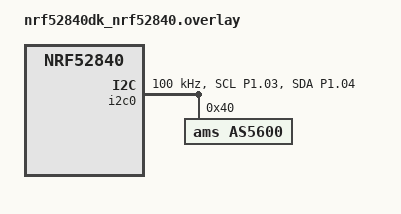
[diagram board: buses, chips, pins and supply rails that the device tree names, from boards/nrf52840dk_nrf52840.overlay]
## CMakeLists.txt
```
cmake_minimum_required(VERSION 3.20.0)
find_package(Zephyr REQUIRED HINTS $ENV{ZEPHYR_BASE})

project(scroller_mvp)

set(APPLICATION_CONFIG_DIR "${CMAKE_CURRENT_LIST_DIR}/configuration/\${NORMALIZED_BOARD_TARGET}")

zephyr_include_directories(
  configuration/common
  ${APPLICATION_CONFIG_DIR}
)

target_sources(app PRIVATE src/main.c)

# Include application events and configuration headers
zephyr_library_include_directories(
  src/events
  src/modules
)

# Application sources
add_subdirectory(src/events)
add_subdirectory(src/modules)
```

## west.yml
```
manifest:
  self:
    path: application
  remotes:
    - name: nrf
      url-base: https://github.com/nrfconnect
  projects:
    - name: sdk-nrf
      remote: nrf
      path: nrf
      revision: v3.0.0
      import:
        path-prefix: external
      clone-depth: 1
```

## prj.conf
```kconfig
# Project wide
CONFIG_LOG=y

# Common Application Framework
# https://docs.nordicsemi.com/bundle/ncs-latest/page/nrf/libraries/caf/caf_overview.html
CONFIG_CAF=y
CONFIG_APP_EVENT_MANAGER=y
CONFIG_APP_EVENT_MANAGER_SHOW_EVENTS=n
CONFIG_HEAP_MEM_POOL_SIZE=2048

# CAF: Power manager module
# https://docs.nordicsemi.com/bundle/ncs-latest/page/nrf/libraries/caf/power_manager.html
CONFIG_CAF_POWER_MANAGER=y
CONFIG_PM_DEVICE=y
CONFIG_REBOOT=y
# FIXME: Prevent the device from powering off. Can only enter the suspended state
CONFIG_CAF_POWER_MANAGER_STAY_ON=y
# Allow modules to quickly enter a power down state to disable the sensor
CONFIG_CAF_FORCE_POWER_DOWN_EVENTS=y

# CAF: Sensor manager module
# https://docs.nordicsemi.com/bundle/ncs-latest/page/nrf/libraries/caf/sensor_manager.html
CONFIG_I2C=y
CONFIG_I2C_NRFX=y
CONFIG_SENSOR=y
CONFIG_CAF_SENSOR_MANAGER=y
CONFIG_CAF_SENSOR_MANAGER_THREAD_PRIORITY=2
CONFIG_CAF_SENSOR_MANAGER_PM=y

# USB Module
CONFIG_USB_DEVICE_STACK=y
CONFIG_USB_DEVICE_HID=y
CONFIG_USB_DEVICE_PRODUCT="FoldingFingers Scroller"
CONFIG_USB_DEVICE_PID=0x0001
CONFIG_USB_DEVICE_VID=0xF0F1
CONFIG_USB_DEVICE_INITIALIZE_AT_BOOT=n # Not a primary HID device, dont enable in bios
CONFIG_USB_HID_POLL_INTERVAL_MS=2
```

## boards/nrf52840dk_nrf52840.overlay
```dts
/ {
	longpress {
		input = <&buttons>;
		compatible = "zephyr,input-longpress";
		input-codes = <INPUT_KEY_0>;
		short-codes = <INPUT_KEY_A>;
		long-codes = <INPUT_KEY_X>;
		long-delay-ms = <1000>;
	};
};

&i2c0 {
	status = "okay";
	pinctrl-0 = <&i2c0_default>;
	pinctrl-1 = <&i2c0_sleep>;
	pinctrl-names = "default", "sleep";
	as5600: as5600@40 {
		compatible = "ams,as5600";
		status = "okay";
		reg = <0x40>;


		power-mode = <0>;
		hysteresis = <1>;
		slow-filter = <1>;
		fast-filter-threshold = <1>;
	};

	clock-frequency = <I2C_BITRATE_STANDARD>;
};

&pinctrl {
	/omit-if-no-ref/ i2c0_default: i2c0_default {
		group1  {
			psels = <NRF_PSEL(TWIM_SCL, 1, 03)>,
					<NRF_PSEL(TWIM_SDA, 1, 04)>;

			bias-pull-up;
			nordic,drive-mode = <NRF_DRIVE_H0H1>;
		};
	};

	/omit-if-no-ref/ i2c0_sleep: i2c0_sleep {
		group1  {
			psels = <NRF_PSEL(TWIM_SCL, 1, 03)>,
					<NRF_PSEL(TWIM_SDA, 1, 04)>;
			low-power-enable;
		};
	};
};
```

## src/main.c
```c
#include <app_event_manager.h>
#define MODULE main
#include <caf/events/module_state_event.h>

#include <zephyr/kernel.h>
#include <zephyr/logging/log.h>
LOG_MODULE_REGISTER(main, LOG_LEVEL_DBG);

#include "scroller_config.h"

struct scroller_config_t SCROLLER_CONFIG;
struct k_mutex scroller_config_mutex;

/* Initialize global config */
void init_conf()
{
        /* Initialize config and config mutex */
        SCROLLER_CONFIG = (struct scroller_config_t){
            .scroll_accumulator = 0,
            .internal_divider = SCROLLER_STEPS_LOW_RES,
        };

        k_mutex_init(&scroller_config_mutex);
}

// FIXME: Control over usb serial device descriptor? To be able to change settings? Could be later used for test harnessing?
// FIXME: Timer based wake to check the sensor and see if it has changed value. If so, wake the device
int main(void)
{
        printk("Scroller v0.1 Test Application\n");

        init_conf();

        if (app_event_manager_init())
        {
                LOG_ERR("Application event manager failed to init");
                return -EINVAL;
        }
        else
        {
                module_set_state(MODULE_STATE_READY);
        }

        return 0;
}
```

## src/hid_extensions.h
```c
#ifndef HID_EXTENSIONS_H
#define HID_EXTENSIONS_H

/**
 * @brief Define HID Physical Minimum item with the data length of one byte.
 *
 * @param a Minimum value in logical units
 * @return  HID Physical Minimum item
 */
#define HID_PHYSICAL_MIN8(a) HID_ITEM(HID_ITEM_TAG_PHYSICAL_MIN, HID_ITEM_TYPE_GLOBAL, 1), a

/**
 * @brief Define HID Physical Maximum item with the data length of one byte.
 *
 * @param a Maximum value in logical units
 * @return  HID Physical Maximum item
 */
#define HID_PHYSICAL_MAX8(a) HID_ITEM(HID_ITEM_TAG_PHYSICAL_MAX, HID_ITEM_TYPE_GLOBAL, 1), a

/**
 * @brief Define HID Physical Minimum item with the data length of two bytes.
 *
 * @param a Minimum value lower byte
 * @param b Minimum value higher byte
 * @return  HID Physical Minimum item
 */
#define HID_PHYSICAL_MIN16(a, b) HID_ITEM(HID_ITEM_TAG_PHYSICAL_MIN, HID_ITEM_TYPE_GLOBAL, 2), a, b

/**
 * @brief Define HID Physical Maximum item with the data length of two bytes.
 *
 * @param a Minimum value lower byte
 * @param b Minimum value higher byte
 * @return  HID Physical Maximum item
 */
#define HID_PHYSICAL_MAX16(a, b) HID_ITEM(HID_ITEM_TAG_PHYSICAL_MAX, HID_ITEM_TYPE_GLOBAL, 2), a, b

#define HID_USAGE_16(a, b) HID_ITEM(HID_ITEM_TAG_USAGE, HID_ITEM_TYPE_LOCAL, 2), a, b

#endif /* HID_EXTENSIONS_H */
```

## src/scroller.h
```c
#ifndef SCROLLER_H
#define SCROLLER_H

#include <zephyr/usb/class/hid.h>
#include "hid_extensions.h"

#define SCROLLER_STEPS_LOW_RES 120
#define SCROLLER_STEPS_HI_RES 1

#define SCROLLER_RESOLUTION_MULTIPLIER 128
#define SCROLLER_RESOLUTION_MULTIPLIER_REPORT_BITS 7
#define SCROLLER_L_MIN_L8 0x00
#define SCROLLER_L_MIN_H8 0x80
#define SCROLLER_L_MAX_L8 0xFF
#define SCROLLER_L_MAX_H8 0x7F
#define SCROLLER_WHEEL_INPUT 0b00001110 /* Data, Var, Abs, Wrap */
/**
 * @brief Define HID Wheel Report Descriptor.
 *
 * @return  HID Wheel Report Descriptor
 */
#define HID_WHEEL_REPORT_DESC()                                                                            \
    {                                                                                                      \
        HID_USAGE_PAGE(HID_USAGE_GEN_DESKTOP),                                                             \
        HID_USAGE(HID_USAGE_GEN_DESKTOP_POINTER),                                                          \
        HID_COLLECTION(HID_COLLECTION_APPLICATION),                                                        \
        HID_USAGE_PAGE(HID_USAGE_GEN_DESKTOP),                                                             \
        HID_USAGE(HID_USAGE_GEN_DESKTOP_POINTER),                                                          \
        HID_COLLECTION(HID_COLLECTION_PHYSICAL),                                                           \
        HID_COLLECTION(HID_COLLECTION_LOGICAL),                                                            \
        HID_REPORT_ID(2), /* Feature Report for Res Mult*/                                                 \
        HID_USAGE(0x48),  /* Resolution Multiplier */                                                      \
        HID_REPORT_COUNT(1),                                                                               \
        HID_REPORT_SIZE(SCROLLER_RESOLUTION_MULTIPLIER_REPORT_BITS),                                       \
        HID_LOGICAL_MIN8(0),                               /* Disable Res Mult */                          \
        HID_LOGICAL_MAX8(1),                               /* Enable Res Mult*/                            \
        HID_PHYSICAL_MIN8(1),                              /* 1 step per detent */                         \
        HID_PHYSICAL_MAX8(SCROLLER_RESOLUTION_MULTIPLIER), /* steps per detent, auto selcted by windows */ \
        HID_FEATURE(0b00000010),                           /* Data, Var, Abs */                            \
        HID_REPORT_ID(1),                                  /* Input report for Wheel */                    \
        HID_USAGE(HID_USAGE_GEN_DESKTOP_WHEEL),                                                            \
        HID_PHYSICAL_MIN8(0),                                                                              \
        HID_PHYSICAL_MAX8(0),                                                                              \
        HID_LOGICAL_MIN16(SCROLLER_L_MIN_L8, SCROLLER_L_MIN_H8),                                           \
        HID_LOGICAL_MAX16(SCROLLER_L_MAX_L8, SCROLLER_L_MAX_H8),                                           \
        HID_REPORT_SIZE(16),                                                                               \
        HID_INPUT(SCROLLER_WHEEL_INPUT), /* Data, Var, Rel */                                              \
        HID_END_COLLECTION,                                                                                \
        HID_COLLECTION(HID_COLLECTION_LOGICAL), /* Horz Scroll */                                          \
        HID_REPORT_ID(2),                       /* Feature Report for Res Mult*/                           \
        HID_USAGE(0x48),                        /* Resolution Multiplier */                                \
        HID_REPORT_SIZE(SCROLLER_RESOLUTION_MULTIPLIER_REPORT_BITS),                                       \
        HID_LOGICAL_MIN8(0),                               /* Disable Res Mult */                          \
        HID_LOGICAL_MAX8(1),                               /* Enable Res Mult*/                            \
        HID_PHYSICAL_MIN8(1),                              /* 1 step per detent */                         \
        HID_PHYSICAL_MAX8(SCROLLER_RESOLUTION_MULTIPLIER), /* steps per detent, auto selcted by windows */ \
        HID_FEATURE(0b00000010),                           /* Data, Var, Abs */                            \
        HID_PHYSICAL_MIN8(0),                                                                              \
        HID_PHYSICAL_MAX8(0),                                                                              \
        HID_REPORT_ID(1),     /* Input report for H. Wheel */                                              \
        HID_USAGE_PAGE(0x0C), /* Consumer Device */                                                        \
        HID_LOGICAL_MIN16(SCROLLER_L_MIN_L8, SCROLLER_L_MIN_H8),                                           \
        HID_LOGICAL_MAX16(SCROLLER_L_MAX_L8, SCROLLER_L_MAX_H8),                                           \
        HID_REPORT_SIZE(16),                                                                               \
        HID_USAGE_16(0x38, 0x02),        /* AC Pan */                                                      \
        HID_INPUT(SCROLLER_WHEEL_INPUT), /* Data, Var, Rel */                                              \
        HID_END_COLLECTION,                                                                                \
        HID_END_COLLECTION,                                                                                \
        HID_END_COLLECTION,                                                                                \
    }

#endif // SCROLLER_H
```

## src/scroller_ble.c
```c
/*
 * Copyright (c) 2016 Intel Corporation
 *
 * SPDX-License-Identifier: Apache-2.0
 */

#include <zephyr/types.h>
#include <stddef.h>
#include <string.h>
#include <errno.h>
#include <zephyr/logging/log.h>
#include <zephyr/sys/byteorder.h>
#include <zephyr/device.h>
#include <zephyr/input/input.h>
#include <zephyr/kernel.h>

#include <zephyr/bluetooth/bluetooth.h>
#include <zephyr/bluetooth/hci.h>
#include <zephyr/bluetooth/conn.h>
#include <zephyr/bluetooth/uuid.h>
#include <zephyr/bluetooth/gatt.h>
#include <zephyr/settings/settings.h>

#include "scroller_hog.h"
#include "scroller_config.h"

LOG_MODULE_REGISTER(scroller_ble, LOG_LEVEL_DBG);

static const struct bt_data ad[] = {
    BT_DATA_BYTES(BT_DATA_FLAGS, (BT_LE_AD_GENERAL | BT_LE_AD_NO_BREDR)),
    BT_DATA_BYTES(BT_DATA_UUID16_ALL,
                  BT_UUID_16_ENCODE(BT_UUID_HIDS_VAL),
                  BT_UUID_16_ENCODE(BT_UUID_BAS_VAL)),
};

static const struct bt_data sd[] = {
    BT_DATA(BT_DATA_NAME_COMPLETE, CONFIG_BT_DEVICE_NAME, sizeof(CONFIG_BT_DEVICE_NAME) - 1),
};

/* Prevent restarting advertising if it is already started */
K_SEM_DEFINE(scroller_ble_advertising, 1, 1);

/* Current BLE state */
static int32_t state;

static void connected(struct bt_conn *conn, uint8_t err)
{
    char addr[BT_ADDR_LE_STR_LEN];

    bt_addr_le_to_str(bt_conn_get_dst(conn), addr, sizeof(addr));

    if (err)
    {
        LOG_ERR("Failed to connect to %s, err 0x%02x %s", addr,
                err, bt_hci_err_to_str(err));
        return;
    }

    LOG_INF("Connected %s", addr);

    if (bt_conn_set_security(conn, BT_SECURITY_L2))
    {
        LOG_WRN("Failed to set security");
    }

    /* Enter BLE_CONNECTED state and clear advertising sem */
    state = BLE_CONNECTED;
    if (k_msgq_put(&state_change, &state, K_MSEC(5)))
    {
        LOG_ERR("Failed to send BLE_CONNECTED");
    }
    k_sem_give(&scroller_ble_advertising);
}

static void disconnected(struct bt_conn *conn, uint8_t reason)
{
    char addr[BT_ADDR_LE_STR_LEN];

    bt_addr_le_to_str(bt_conn_get_dst(conn), addr, sizeof(addr));

    LOG_INF("Disconnected from %s, reason 0x%02x %s", addr,
            reason, bt_hci_err_to_str(reason));

    /* Enter BLE_DISCONNECTED state */
    state = BLE_DISCONNECTED;
    if (k_msgq_put(&state_change, &state, K_MSEC(5)))
    {
        LOG_ERR("Failed to send BLE_DISCONNECTED");
    }
}

static void security_changed(struct bt_conn *conn, bt_security_t level,
                             enum bt_security_err err)
{
    char addr[BT_ADDR_LE_STR_LEN];

    bt_addr_le_to_str(bt_conn_get_dst(conn), addr, sizeof(addr));

    if (!err)
    {
        LOG_INF("Security changed: %s level %u", addr, level);
    }
    else
    {
        LOG_WRN("Security failed: %s level %u err %s(%d)", addr, level,
                bt_security_err_to_str(err), err);
    }
}

BT_CONN_CB_DEFINE(conn_callbacks) = {
    .connected = connected,
    .disconnected = disconnected,
    .security_changed = security_changed,
};

/* Advertise with the given type:
 * BT_LE_ADV_CONN_FAST_1 --> Pairing
 * TODO: Low power pairing mode? Longer interval to decrease battery usage.
 * const struct bt_le_adv_param *advertising_type
 */
void advertise(const struct bt_le_adv_param *advertising_type)
{
    int err;

    if (k_sem_take(&scroller_ble_advertising, K_NO_WAIT))
    {
        /* Advertising is currently running, bail out */
        LOG_WRN("Advertising already running");
        return;
    }

    err = bt_le_adv_start(advertising_type, ad, ARRAY_SIZE(ad), sd, ARRAY_SIZE(sd));
    if (err)
    {
        LOG_ERR("Advertising failed to start: %d", err);
        k_sem_give(&scroller_ble_advertising);
        return;
    }

    /* Enter BLE_ADVERTISING state */
    state = BLE_ADVERTISING;
    if (k_msgq_put(&state_change, &state, K_MSEC(5)))
    {
        LOG_ERR("Failed to send BLE_ADVERTISING");
    }

    LOG_INF("Advertising successfully started");
    return;
}

void advertise_pairing(struct k_work *work)
{
    advertise(BT_LE_ADV_CONN_FAST_1);
}
K_WORK_DEFINE(advertise_work, advertise_pairing);

void scroller_ble_init(int err)
{
    if (err)
    {
        LOG_ERR("Bluetooth init failed: %d", err);
        return;
    }

    LOG_INF("Bluetooth initialized");

    if (IS_ENABLED(CONFIG_SETTINGS))
    {
        settings_load();
    }

    /* Enter BLE_CONNECTED state */
    state = BLE_DISCONNECTED;
    if (k_msgq_put(&state_change, &state, K_MSEC(5)))
    {
        LOG_ERR("Failed to send BLE_DISCONNECTED");
    }
}

// FIXME: Will need white/black listing of devices
// for a temporary period to allow others to connect? May need connnection pool info? --> Nordic course
static void input_callback(struct input_event *event, void *userdata)
{
    static bool pairing_button = true;

    /* Key codes are defined in the overlay file */
    switch (event->code)
    {
    case INPUT_KEY_A:
        LOG_INF("Short Press Key 1");
        break;
    case INPUT_KEY_X:
        if (pairing_button)
        {
            LOG_INF("Long press down key 1");
            // FIXME: trigger advertising
        }
        else
        {
            LOG_INF("Long press up key 1");
        }

        pairing_button = !pairing_button;
        break;
    }
}

INPUT_CALLBACK_DEFINE(NULL, input_callback, NULL);
```

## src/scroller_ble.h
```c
#ifndef SCROLLER_BLE_H
#define SCROLLER_BLE_H

void scroller_ble_init(int err);

extern struct k_work advertise_work;

#endif /* SCROLLER_BLE_H */
```

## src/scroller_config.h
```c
#ifndef SCROLLER_CONFIG_H
#define SCROLLER_CONFIG_H

#include <zephyr/usb/class/hid.h>
#include "hid_extensions.h"

/* Thread priority 2 for sensor reading to allow for preempting */
#define SCROLLER_SENSOR_THREAD_PRIORITY 0x02

/* Thread priority 1 for send threads, taking precedence over reading */
#define SCROLLER_SEND_THREAD_PRIORITY 0x01

/* Report Frequency (ms) */
#define SCROLLER_REPORT_FREQUENCY 5

/* Default step scaling values */
#define SCROLLER_STEPS_LOW_RES 120
#define SCROLLER_STEPS_HI_RES 1

/* Scroller config */
struct scroller_config_t
{
    int32_t scroll_accumulator;
    int32_t internal_divider;
};
// FIXME: Add get/set helpers to make sure the mut is locked/unlocked properly
extern struct scroller_config_t SCROLLER_CONFIG;
extern struct k_mutex scroller_config_mutex;

/* Device state */
enum SCROLLER_STATE
{
    BLE_DISCONNECTED,
    BLE_CONNECTED,
    BLE_ADVERTISING,
};
extern struct k_msgq state_change;

/*-- HID REPORT --*/

#define SCROLLER_RESOLUTION_MULTIPLIER 128
#define SCROLLER_RESOLUTION_MULTIPLIER_REPORT_BITS 7
#define SCROLLER_L_MIN_L8 0x00
#define SCROLLER_L_MIN_H8 0x80
#define SCROLLER_L_MAX_L8 0xFF
#define SCROLLER_L_MAX_H8 0x7F
#define SCROLLER_WHEEL_INPUT 0b00001110 /* Data, Var, Abs, Wrap */
/**
 * @brief Define HID Wheel Report Descriptor.
 *
 * @return  HID Wheel Report Descriptor
 */
#define HID_WHEEL_REPORT_DESC()                                                                             \
    {                                                                                                       \
        HID_USAGE_PAGE(HID_USAGE_GEN_DESKTOP),                                                              \
        HID_USAGE(HID_USAGE_GEN_DESKTOP_POINTER),                                                           \
        HID_COLLECTION(HID_COLLECTION_APPLICATION),                                                         \
        HID_USAGE_PAGE(HID_USAGE_GEN_DESKTOP),                                                              \
        HID_USAGE(HID_USAGE_GEN_DESKTOP_POINTER),                                                           \
        HID_COLLECTION(HID_COLLECTION_PHYSICAL),                                                            \
        HID_COLLECTION(HID_COLLECTION_LOGICAL),                                                             \
        HID_REPORT_ID(2), /* Feature Report for Res Mult*/                                                  \
        HID_USAGE(0x48),  /* Resolution Multiplier */                                                       \
        HID_REPORT_COUNT(1),                                                                                \
        HID_REPORT_SIZE(SCROLLER_RESOLUTION_MULTIPLIER_REPORT_BITS),                                        \
        HID_LOGICAL_MIN8(0),                               /* Disable Res Mult */                           \
        HID_LOGICAL_MAX8(1),                               /* Enable Res Mult*/                             \
        HID_PHYSICAL_MIN8(1),                              /* 1 step per detent */                          \
        HID_PHYSICAL_MAX8(SCROLLER_RESOLUTION_MULTIPLIER), /* steps per detent, auto selected by windows */ \
        HID_FEATURE(0b00000010),                           /* Data, Var, Abs */                             \
        HID_REPORT_ID(1),                                  /* Input report for Wheel */                     \
        HID_USAGE(HID_USAGE_GEN_DESKTOP_WHEEL),                                                             \
        HID_PHYSICAL_MIN8(0),                                                                               \
        HID_PHYSICAL_MAX8(0),                                                                               \
        HID_LOGICAL_MIN16(SCROLLER_L_MIN_L8, SCROLLER_L_MIN_H8),                                            \
        HID_LOGICAL_MAX16(SCROLLER_L_MAX_L8, SCROLLER_L_MAX_H8),                                            \
        HID_REPORT_SIZE(16),                                                                                \
        HID_INPUT(SCROLLER_WHEEL_INPUT), /* Data, Var, Rel */                                               \
        HID_END_COLLECTION,                                                                                 \
        HID_COLLECTION(HID_COLLECTION_LOGICAL), /* Horz Scroll */                                           \
        HID_REPORT_ID(2),                       /* Feature Report for Res Mult*/                            \
        HID_USAGE(0x48),                        /* Resolution Multiplier */                                 \
        HID_REPORT_SIZE(SCROLLER_RESOLUTION_MULTIPLIER_REPORT_BITS),                                        \
        HID_LOGICAL_MIN8(0),                               /* Disable Res Mult */                           \
        HID_LOGICAL_MAX8(1),                               /* Enable Res Mult*/                             \
        HID_PHYSICAL_MIN8(1),                              /* 1 step per detent */                          \
        HID_PHYSICAL_MAX8(SCROLLER_RESOLUTION_MULTIPLIER), /* steps per detent, auto selected by windows */ \
        HID_FEATURE(0b00000010),                           /* Data, Var, Abs */                             \
        HID_PHYSICAL_MIN8(0),                                                                               \
        HID_PHYSICAL_MAX8(0),                                                                               \
        HID_REPORT_ID(1),     /* Input report for H. Wheel */                                               \
        HID_USAGE_PAGE(0x0C), /* Consumer Device */                                                         \
        HID_LOGICAL_MIN16(SCROLLER_L_MIN_L8, SCROLLER_L_MIN_H8),                                            \
        HID_LOGICAL_MAX16(SCROLLER_L_MAX_L8, SCROLLER_L_MAX_H8),                                            \
        HID_REPORT_SIZE(16),                                                                                \
        HID_USAGE_16(0x38, 0x02),        /* AC Pan */                                                       \
        HID_INPUT(SCROLLER_WHEEL_INPUT), /* Data, Var, Rel */                                               \
        HID_END_COLLECTION,                                                                                 \
        HID_END_COLLECTION,                                                                                 \
        HID_END_COLLECTION,                                                                                 \
    }

#endif /* SCROLLER_CONFIG_H */
```

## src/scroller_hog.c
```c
/*
 * Copyright (c) 2016 Intel Corporation
 *
 * SPDX-License-Identifier: Apache-2.0
 */

#include <zephyr/types.h>
#include <zephyr/drivers/gpio.h>
#include <stddef.h>
#include <string.h>
#include <errno.h>
#include <zephyr/logging/log.h>
#include <zephyr/sys/byteorder.h>
#include <zephyr/kernel.h>

#include <zephyr/bluetooth/bluetooth.h>
#include <zephyr/bluetooth/hci.h>
#include <zephyr/bluetooth/conn.h>
#include <zephyr/bluetooth/uuid.h>
#include <zephyr/bluetooth/gatt.h>

#include "scroller_config.h"
#include "scroller_sensor.h"

LOG_MODULE_REGISTER(scroller_hog, LOG_LEVEL_DBG);

enum
{
    HIDS_REMOTE_WAKE = BIT(0),
    HIDS_NORMALLY_CONNECTABLE = BIT(1),
};

struct hids_info
{
    uint16_t version; /* version number of base USB HID Specification */
    uint8_t code;     /* country HID Device hardware is localized for. */
    uint8_t flags;
} __packed;

struct hids_report
{
    uint8_t id;   /* report id */
    uint8_t type; /* report type */
} __packed;

static struct hids_info info = {
    .version = 0x0000,
    .code = 0x00,
    .flags = HIDS_NORMALLY_CONNECTABLE,
};

enum
{
    HIDS_INPUT = 0x01,
    HIDS_OUTPUT = 0x02,
    HIDS_FEATURE = 0x03,
};

static struct hids_report input = {
    .id = 0x01,
    .type = HIDS_INPUT,
};

static struct hids_report feature = {
    .id = 0x02,
    .type = HIDS_FEATURE,
};

static uint8_t simulate_input;
static uint8_t ctrl_point;
static uint8_t report_map[] = HID_WHEEL_REPORT_DESC();

static ssize_t read_info(struct bt_conn *conn,
                         const struct bt_gatt_attr *attr, void *buf,
                         uint16_t len, uint16_t offset)
{
    return bt_gatt_attr_read(conn, attr, buf, len, offset, attr->user_data,
                             sizeof(struct hids_info));
}

static ssize_t read_report_map(struct bt_conn *conn,
                               const struct bt_gatt_attr *attr, void *buf,
                               uint16_t len, uint16_t offset)
{
    return bt_gatt_attr_read(conn, attr, buf, len, offset, report_map,
                             sizeof(report_map));
}

static ssize_t read_report(struct bt_conn *conn,
                           const struct bt_gatt_attr *attr, void *buf,
                           uint16_t len, uint16_t offset)
{
    return bt_gatt_attr_read(conn, attr, buf, len, offset, attr->user_data,
                             sizeof(struct hids_report));
}

static void input_ccc_changed(const struct bt_gatt_attr *attr, uint16_t value)
{
    simulate_input = (value == BT_GATT_CCC_NOTIFY) ? 1 : 0;
}

static ssize_t read_input_report(struct bt_conn *conn,
                                 const struct bt_gatt_attr *attr, void *buf,
                                 uint16_t len, uint16_t offset)
{
    return bt_gatt_attr_read(conn, attr, buf, len, offset, NULL, 0);
}

static ssize_t read_feature_report(struct bt_conn *conn,
                                   const struct bt_gatt_attr *attr, void *buf,
                                   uint16_t len, uint16_t offset)
{
    // FIXME: This feels hacky however OS's always use a fixed 120 for the resolution multiplier
    int16_t fake_resolution;

    k_mutex_lock(&scroller_config_mutex, K_FOREVER);
    if (SCROLLER_CONFIG.internal_divider == SCROLLER_STEPS_LOW_RES)
    {
        fake_resolution = 1;
        LOG_INF("Reporting Low-Res");
    }
    else
    {
        fake_resolution = 120;
        LOG_INF("Reporting High-Res");
    }
    k_mutex_unlock(&scroller_config_mutex);

    return bt_gatt_attr_read(conn, attr, buf, len, offset, &fake_resolution, sizeof(int16_t));
}

static ssize_t write_feature_report(struct bt_conn *conn,
                                    const struct bt_gatt_attr *attr,
                                    const void *buf, uint16_t len,
                                    uint16_t offset, uint8_t flags)
{
    /* Feature Report Value */
    int16_t value;

    /* Check the data recieved before copying */
    if (offset + len > sizeof(value))
    {
        return BT_GATT_ERR(BT_ATT_ERR_INVALID_OFFSET);
    }
    memcpy(&value, (((uint8_t *)buf) + offset), len);

    /* If there is a value sent it is enabling high resolution */
    if (value)
    {
        k_mutex_lock(&scroller_config_mutex, K_FOREVER);
        SCROLLER_CONFIG.internal_divider = SCROLLER_STEPS_HI_RES;
        LOG_INF("Enabled high resolution scrolling");
        k_mutex_unlock(&scroller_config_mutex);
    }

    return len;
}

static ssize_t write_ctrl_point(struct bt_conn *conn,
                                const struct bt_gatt_attr *attr,
                                const void *buf, uint16_t len, uint16_t offset,
                                uint8_t flags)
{
    uint8_t *value = attr->user_data;

    if (offset + len > sizeof(ctrl_point))
    {
        return BT_GATT_ERR(BT_ATT_ERR_INVALID_OFFSET);
    }

    memcpy(value + offset, buf, len);

    return len;
}

/* HID Service Declaration */
BT_GATT_SERVICE_DEFINE(hog_svc,
                       BT_GATT_PRIMARY_SERVICE(BT_UUID_HIDS),
                       BT_GATT_CHARACTERISTIC(BT_UUID_HIDS_INFO, BT_GATT_CHRC_READ,
                                              BT_GATT_PERM_READ, read_info, NULL, &info),
                       BT_GATT_CHARACTERISTIC(BT_UUID_HIDS_REPORT_MAP, BT_GATT_CHRC_READ,
                                              BT_GATT_PERM_READ, read_report_map, NULL, NULL),

                       /* Report 1: Input Report */
                       BT_GATT_CHARACTERISTIC(BT_UUID_HIDS_REPORT,
                                              BT_GATT_CHRC_READ | BT_GATT_CHRC_NOTIFY,
                                              BT_GATT_PERM_READ_ENCRYPT,
                                              read_input_report, NULL, NULL),
                       BT_GATT_DESCRIPTOR(BT_UUID_HIDS_REPORT_REF, BT_GATT_PERM_READ,
                                          read_report, NULL, &input),
                       BT_GATT_CCC(input_ccc_changed,
                                   BT_GATT_PERM_READ_ENCRYPT | BT_GATT_PERM_WRITE_ENCRYPT),

                       /* Report 2: Feature Report */
                       BT_GATT_CHARACTERISTIC(BT_UUID_HIDS_REPORT,
                                              BT_GATT_CHRC_READ | BT_GATT_CHRC_WRITE,
                                              BT_GATT_PERM_READ_ENCRYPT | BT_GATT_PERM_WRITE_ENCRYPT,
                                              read_feature_report, write_feature_report, NULL),
                       BT_GATT_DESCRIPTOR(BT_UUID_HIDS_REPORT_REF, BT_GATT_PERM_READ,
                                          read_report, NULL, &feature),

                       BT_GATT_CHARACTERISTIC(BT_UUID_HIDS_CTRL_POINT,
                                              BT_GATT_CHRC_WRITE_WITHOUT_RESP,
                                              BT_GATT_PERM_WRITE,
                                              NULL, write_ctrl_point, &ctrl_point), );

/* HID over GATT sending thread */
void send_report_ble()
{
    int16_t sens_val;

    while (1)
    {
        k_msgq_get(&sensor_msgq, &sens_val, K_FOREVER);

        /* .attrs[6] is the index of the CCC (input report) attribute*/
        bt_gatt_notify(NULL, &hog_svc.attrs[6], &sens_val, sizeof(int16_t));
    }
}

/* BLE report sending thread */
K_THREAD_DEFINE(ble_send_thread, 1024, send_report_ble, NULL, NULL, NULL, SCROLLER_SEND_THREAD_PRIORITY, 0, 0);
```

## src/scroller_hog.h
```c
#ifndef SCROLLER_HOG_H
#define SCROLLER_HOG_H

extern const k_tid_t ble_send_thread;

#endif /* SCROLLER_HOG_H */
```

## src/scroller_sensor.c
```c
#include <zephyr/kernel.h>
#include <zephyr/drivers/sensor.h>
#include <zephyr/logging/log.h>
#include <zephyr/drivers/sensor/ams_as5600.h>

#include "scroller_config.h"
#include "scroller_sensor.h"

LOG_MODULE_REGISTER(scroller_sensor, LOG_LEVEL_DBG);

/* Sensor value message queue */
K_MSGQ_DEFINE(sensor_msgq, sizeof(int16_t), 2, 1);

/* Sensor read thread
 *
 * Responsible for reading the AS5600 sensor and enqueuing the data to be
 * consumed by either a USB or BT sender.
 */
void sensor_thread_handler(void)
{
    const struct device *sensor;
    int ret;

    sensor = DEVICE_DT_GET(DT_NODELABEL(as5600));
    if (!device_is_ready(sensor))
    {
        LOG_ERR("Sensor not ready");
        return;
    }

    // Read off the AS5600
    ret = sensor_sample_fetch_chan(sensor, AS5600_SENSOR_CHAN_FILTERED_STEPS);
    if (ret < 0)
    {
        LOG_ERR("Could not fetch samples (%d)", ret);
        return;
    }

    struct sensor_value prev_angle;
    struct sensor_value curr_angle;

    while (1)
    {
        ret = sensor_channel_get(sensor, AS5600_SENSOR_CHAN_FILTERED_STEPS, &prev_angle);
        if (ret < 0)
        {
            LOG_ERR("Could not get samples (%d)", ret);
        }

        k_msleep(SCROLLER_REPORT_FREQUENCY);

        ret = sensor_sample_fetch_chan(sensor, AS5600_SENSOR_CHAN_FILTERED_STEPS);
        if (ret < 0)
        {
            LOG_ERR("Could not fetch samples (%d)", ret);
            continue;
        }

        ret = sensor_channel_get(sensor, AS5600_SENSOR_CHAN_FILTERED_STEPS, &curr_angle);
        if (ret < 0)
        {
            LOG_ERR("Could not get samples (%d)", ret);
            continue;
        }

        /* Process the step delta accounting for roll over at 0/4095 */
        int16_t delta = prev_angle.val1 - curr_angle.val1;

        /* If there is not change just continue */
        if (!delta)
        {
            continue;
        }

        /* Handle wrapping the zero point */
        if (delta > 2048)
        {
            delta -= 4096; /* Negative direction wrap */
        }
        else if (delta < -2048)
        {
            delta += 4096; /* Positive direction wrap */
        }

        /* Invert scroll direction */
        delta *= -1;

        /* Lock the global config while manipulating */
        k_mutex_lock(&scroller_config_mutex, K_FOREVER);
        SCROLLER_CONFIG.scroll_accumulator += delta;

        /*
         * Apply an internal scroll accumulator. The linux kernel only supports down to
         * (int)(steps * 120 / RES MULT) resulting a maximum of 120 steps per detent. Fractional
         * scrolling is not supported. The sensor emits 4096/120 ~34 detents per revolution
         * which is high.
         */

        /* Steps are integer part of accumulated steps over the internal multiplier */
        int steps = SCROLLER_CONFIG.scroll_accumulator / SCROLLER_CONFIG.internal_divider;
        SCROLLER_CONFIG.scroll_accumulator %= SCROLLER_CONFIG.internal_divider;

        /* Release the global config */
        k_mutex_unlock(&scroller_config_mutex);

        /* If steps > 0 */
        if (steps)
        {
            k_msgq_put(&sensor_msgq, &steps, K_NO_WAIT);
        }

        /* Move cur to prev*/
        prev_angle.val1 = curr_angle.val1;
    }
}

/* Sensor thread */
K_THREAD_DEFINE(sensor_thread, 1024, sensor_thread_handler, NULL, NULL, NULL, SCROLLER_SENSOR_THREAD_PRIORITY, 0, 0);
```

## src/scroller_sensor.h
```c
#ifndef SCROLLER_SENSOR_H
#define SCROLLER_SENSOR_H

extern struct k_msgq sensor_msgq;

extern const k_tid_t sensor_thread;

#endif /* SCROLLER_USB_H */
```

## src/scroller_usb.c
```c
#include <zephyr/kernel.h>
#include <zephyr/logging/log.h>

#include <zephyr/usb/usb_device.h>
#include <zephyr/usb/usbd.h>
#include <zephyr/usb/class/usb_hid.h>

#include "scroller_config.h"
#include "scroller_sensor.h"

LOG_MODULE_REGISTER(scroller_usb, LOG_LEVEL_DBG);

/* USB HID report descriptor bytes */
static const uint8_t hid_report_desc[] = HID_WHEEL_REPORT_DESC();

/* Mouse Report */
struct __packed wheel_report_t
{
    uint8_t report_id;
    int16_t wheel;
};

/* Semaphore for writing reports over USB.
 * When a write on the IN endpoint is started, take the semaphore,
 * When all data is written to the IN endpoint, release the semaphore.
 */
static K_SEM_DEFINE(ep_write_sem, 0, 1);

/* Semaphore for enabling USB after connection */
static K_SEM_DEFINE(usb_conf_sem, 0, 1);

/* Semaphore for suspending USB connection */
static K_SEM_DEFINE(usb_suspend_sem, 1, 1);

/* Callback for IN endpoint transfer completion */
static void int_in_ready_cb(const struct device *dev)
{
    ARG_UNUSED(dev);
    /* Release the write semaphore allowing another write to occur */
    k_sem_give(&ep_write_sem);
}

/* Callback for Get_Report requests */
static int get_report_cb(const struct device *dev, struct usb_setup_packet *setup, int32_t *len, uint8_t **data)
{
    ARG_UNUSED(dev);
    ARG_UNUSED(len);
    ARG_UNUSED(data);

    /* Get the feature report (0x0300) with report ID 2 (0x0002)*/
    if (setup->wValue == 0x0302)
    {
        // FIXME: Respond with the resolution multiplier
        LOG_INF("GET_REPORT: Resolution Multiplier");
    }

    return 0;
}

/* Callback for Set_Report requests */
static int set_report_cb(const struct device *dev, struct usb_setup_packet *setup, int32_t *len, uint8_t **data)
{
    ARG_UNUSED(dev);
    ARG_UNUSED(setup);

    /* Check to see if the first byte is 0x02, the report id for the Resolution Multiplier report
     * and enable high res scrolling if the next value is greater than 0. Linux and Windows use a fixed 120
     * high res scrolls per basic scroll so the set value resolution multiplier doesn't matter here
     */
    // FIXME: Better check here, and check the length of the data to make sure its not overrunning
    if ((*data)[0] == 0x02 && (*data)[1] > 0)
    {
        LOG_INF("HI-res enabled");
        SCROLLER_CONFIG.internal_divider = SCROLLER_STEPS_HI_RES;
    }

    return 0;
}

/* Registers HID callback */
static const struct hid_ops ops = {
    .get_report = get_report_cb,
    .set_report = set_report_cb,
    .int_in_ready = int_in_ready_cb,
};

/* Take the status reported by the callback and process it */
static inline void status_cb(enum usb_dc_status_code status, const uint8_t *param)
{
    ARG_UNUSED(param);

    /* Try taking the semaphore on all states other than configured */
    switch (status)
    {
    case USB_DC_UNKNOWN:
        /* Connection status unknown */
        break;
    case USB_DC_CONNECTED:
        /* Physically connected */
        k_sem_take(&usb_conf_sem, K_NO_WAIT);
        break;
    case USB_DC_RESET:
        /* Reset device state to defaults */
        k_mutex_lock(&scroller_config_mutex, K_FOREVER);
        SCROLLER_CONFIG.internal_divider = SCROLLER_STEPS_LOW_RES;
        SCROLLER_CONFIG.scroll_accumulator = 0;
        k_mutex_unlock(&scroller_config_mutex);
        /* Device is unconfigured and not suspended */
        k_sem_take(&usb_conf_sem, K_NO_WAIT);
        k_sem_give(&usb_suspend_sem);
        break;
    case USB_DC_CONFIGURED:
        /* Device configured for data transfer */
        k_sem_give(&usb_conf_sem);
        break;
    case USB_DC_DISCONNECTED:
        /* Physically disconnected */
        // FIXME: In the USB thread, stop trying to send packets
        k_sem_take(&usb_conf_sem, K_NO_WAIT);
        break;
    case USB_DC_SUSPEND:
        /* Suspend the device, does not change configuration just pauses connection */
        // FIXME: In the USB thread, stop trying to send packets
        k_sem_take(&usb_suspend_sem, K_NO_WAIT);
        break;
    case USB_DC_RESUME:
        /* Resume the device, no configuration change */
        // FIXME: In the USB thread, re-enable sending packets
        k_sem_give(&usb_suspend_sem);
        break;
    default:
        LOG_WRN("Unhandled USB state: %d", status);
    }
}

/* Initialize the USB HID device */
int scroller_usb_init()
{
    const struct device *hid_dev;
    int err;

    /* Get the usb hid device binding */
    hid_dev = device_get_binding("HID_0");

    if (hid_dev == NULL)
    {
        LOG_ERR("Cannot get USB device binding");
        return -EINVAL;
    }

    // Log the HID report descriptor
    // LOG_HEXDUMP_INF(hid_report_desc, sizeof(hid_report_desc), "HID Report Descriptor");

    /* Attach the HID report descriptor to the HID device */
    usb_hid_register_device(hid_dev,
                            hid_report_desc, sizeof(hid_report_desc),
                            &ops);

    /* Initialize HID device */
    err = usb_hid_init(hid_dev);
    if (err < 0)
    {
        LOG_ERR("Cannot initialize USB HID");
        return err;
    }

    /* Enable USB and bind status callback */
    err = usb_enable(status_cb);
    if (err < 0)
    {
        LOG_ERR("Failed to enable USB");
        return err;
    }

    return 0;
}

int send_report(const struct device *hid_dev, uint8_t *report, size_t report_size)
{
    int err;

    /* Make sure the USB device is configured and not suspended before trying to write */
    if (!k_sem_count_get(&usb_conf_sem) || !k_sem_count_get(&usb_suspend_sem))
    {
        LOG_INF("Report not sent: %d, %d", k_sem_count_get(&usb_conf_sem), k_sem_count_get(&usb_suspend_sem));
        return -EINVAL;
    }

    /* Write the report to the HID interrupt endpoint */
    err = hid_int_ep_write(hid_dev, report, report_size, NULL);
    if (err)
    {
        LOG_ERR("HID write error, %d", err);
        return err;
    }
    else
    {
        /* Wait for the write to complete */
        k_sem_take(&ep_write_sem, K_FOREVER);
    }

    return 0;
}

/* USB HID report sending thread */
void send_report_usb()
{
    const struct device *hid_dev;
    int err;

    struct wheel_report_t wheel_report = {
        .report_id = 0x01,
        .wheel = 0,
    };

    /* Get the usb hid device binding */
    hid_dev = device_get_binding("HID_0");

    if (hid_dev == NULL)
    {
        LOG_ERR("Cannot get USB device binding");
        return;
    }

    UDC_STATIC_BUF_DEFINE(report, sizeof(wheel_report));

    while (1)
    {
        /* Wait for a message to be available */
        k_msgq_get(&sensor_msgq, &wheel_report.wheel, K_FOREVER);

        /* Copy the report to the static buffer */
        memcpy(report, &wheel_report, sizeof(wheel_report));

        err = send_report(hid_dev, report, sizeof(wheel_report));
        if (err)
        {
            LOG_WRN("Dropped report: %d", err);
        }
    }
}

/* USB report sending thread */
// FIXME: Re-enable USB
// K_THREAD_DEFINE(usb_send_thread, 1024, send_report_usb, NULL, NULL, NULL, SCROLLER_SEND_THREAD_PRIORITY, 0, 0);
```

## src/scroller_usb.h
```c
#ifndef SCROLLER_USB_H
#define SCROLLER_USB_H

int scroller_usb_init();

#endif /* SCROLLER_USB_H */
```
